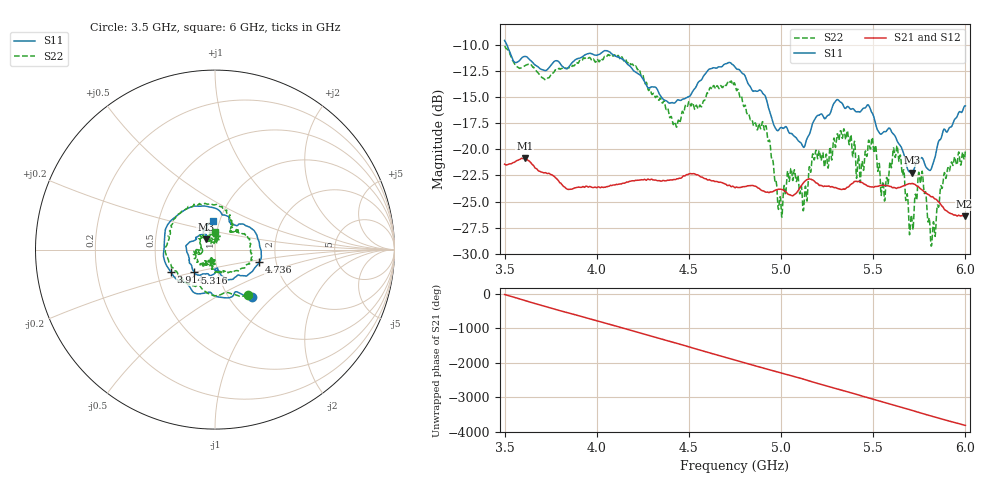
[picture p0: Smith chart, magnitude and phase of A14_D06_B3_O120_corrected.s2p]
! Created with skrf 1.9.0 (http://scikit-rf.org).
# Hz S RI R 50.0
!freq ReS11 ImS11 ReS21 ImS21 ReS12 ImS12 ReS22 ImS22
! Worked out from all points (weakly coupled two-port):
!   1601 points, 3.5 GHz to 6 GHz, reference 50 ohm
!   highest |S21| = -20.84 dB at 3.609 GHz (marker M1); lowest = -26.4 dB at 5.995 GHz (marker M2)
!   lowest |S11| = -22.2 dB at 5.709 GHz (marker M3), VSWR 1.17, Z = 44.8 + j5.19 ohm
!   |S11| at or under -10 dB: 3.514 GHz to end of sweep
!   |S22| runs from -29.3 to -10.1 dB; largest |S21 - S12| = 0.00099
!   S11 on the Smith chart (normalised r, x): 3.5 GHz: 1.27, -0.75; 3.914 GHz: 0.59, -0.16; 4.736 GHz: 1.63, -0.25; 5.316 GHz: 0.77, -0.20; 6 GHz: 0.93, +0.31
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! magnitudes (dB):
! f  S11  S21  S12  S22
! 3.5 GHz  -9.5  -21.4  -21.4  -10.1
! 3.609 GHz  -11.1  -20.8  -20.8  -12.0
! 3.914 GHz  -11.2  -23.6  -23.6  -11.5
! 3.917 GHz  -11.2  -23.6  -23.6  -11.5
! 4.334 GHz  -14.5  -23.0  -22.9  -15.2
! 4.427 GHz  -15.5  -22.9  -22.9  -17.5
! 4.736 GHz  -11.8  -23.5  -23.6  -13.7
! 4.75 GHz  -12.1  -23.7  -23.6  -13.7
! 4.911 GHz  -14.8  -24.0  -24.0  -18.1
! 4.995 GHz  -17.9  -23.8  -23.8  -24.5
! 5.045 GHz  -18.4  -24.3  -24.3  -23.0
! 5.13 GHz  -19.6  -23.1  -23.0  -23.7
! 5.167 GHz  -17.7  -22.9  -22.9  -21.0
! 5.316 GHz  -15.3  -23.8  -23.7  -19.0
! 5.584 GHz  -18.0  -23.5  -23.5  -22.6
! 5.638 GHz  -19.4  -23.7  -23.6  -20.9
! 5.709 GHz  -22.2  -23.3  -23.2  -26.5
! 5.756 GHz  -20.8  -23.8  -23.7  -23.3
! 5.825 GHz  -21.3  -24.6  -24.5  -27.2
! 5.894 GHz  -18.3  -25.9  -25.8  -22.8
! 5.995 GHz  -15.8  -26.4  -26.3  -20.9
! 6 GHz  -15.8  -26.4  -26.3  -20.1
